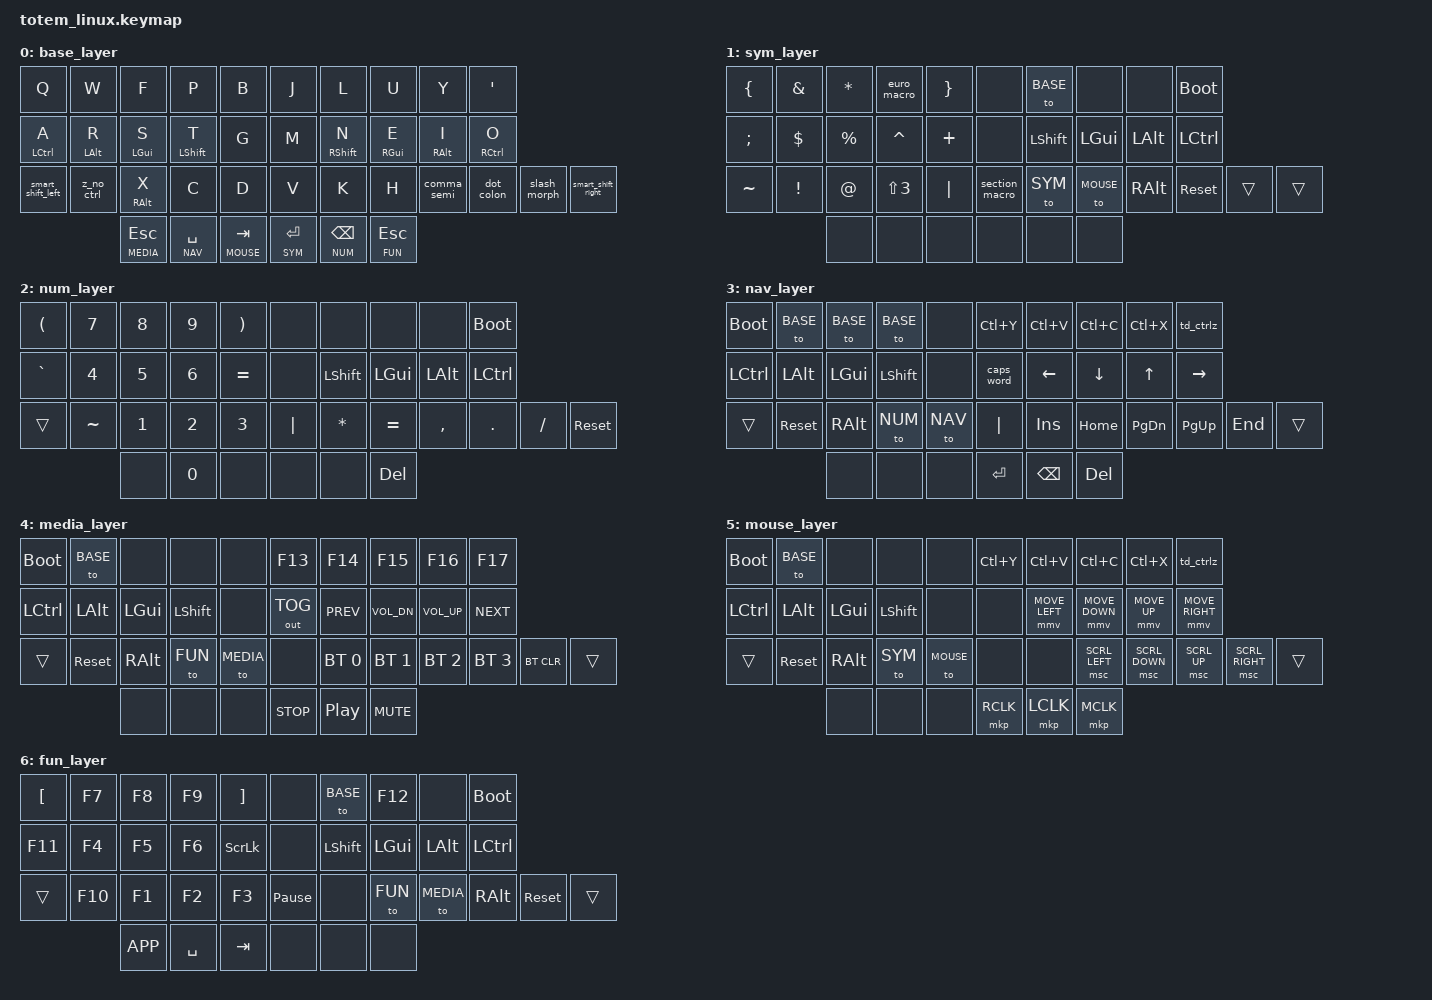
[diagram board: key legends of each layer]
/*
 * Copyright (c) 2025 Will Napier
 *
 * SPDX-License-Identifier: MIT
 *
 * LINUX-SPECIFIC TOTEM KEYMAP (Ctrl edit commands)
 * Ported from piantor_pro_bt.keymap (42-key) to Totem (38-key); the Linux twin of totem.keymap (macOS).
 * British Pound (£) on SYM+D, Hash (#) on Right-Alt+3
 * Euro (€) on SYM+P — euro_macro compose sequence (Menu, c, =) via ~/.XCompose
 * Section sign (§) on SYM+V — section_macro compose sequence (Menu, s, o) via ~/.XCompose
 */

#include <behaviors.dtsi>
#include <dt-bindings/zmk/keys.h>
#include <dt-bindings/zmk/bt.h>
#include <dt-bindings/zmk/outputs.h>
#include <dt-bindings/zmk/pointing.h>

// Set maximum mouse velocity
#define ZMK_POINTING_DEFAULT_MOVE_VAL 1440

// Layer definitions
#define BASE 0
#define SYM 1
#define NUM 2
#define NAV 3
#define MEDIA 4
#define MOUSE 5
#define FUN 6

// Miryoku timeless HRM settings
#define QUICK_TAP_MS 175

&mt {
    flavor = "balanced";
    tapping-term-ms = <280>;
    quick-tap-ms = <QUICK_TAP_MS>;
    require-prior-idle-ms = <200>;
    hold-trigger-on-release;
};

/ {
    macros {
        // British Pound Sterling via compose sequence (Menu, L, -)
        // Works with ~/.XCompose on Linux
        pound_macro: pound_macro {
            compatible = "zmk,behavior-macro";
            #binding-cells = <0>;
            wait-ms = <30>;
            tap-ms = <30>;
            bindings = <&kp K_APP>, <&kp L>, <&kp MINUS>;
        };

        // Euro (€) via compose sequence (Menu, c, =) — in the default X Compose file
        // (/usr/share/X11/locale/en_US.UTF-8/Compose: <Multi_key> <c> <equal>).
        euro_macro: euro_macro {
            compatible = "zmk,behavior-macro";
            #binding-cells = <0>;
            wait-ms = <30>;
            tap-ms = <30>;
            bindings = <&kp K_APP>, <&kp C>, <&kp EQUAL>;
        };

        // Section sign (§) via compose sequence (Menu, s, o) — in the default X
        // Compose file (/usr/share/X11/locale/en_US.UTF-8/Compose: <Multi_key> <s> <o>).
        section_macro: section_macro {
            compatible = "zmk,behavior-macro";
            #binding-cells = <0>;
            wait-ms = <30>;
            tap-ms = <30>;
            bindings = <&kp K_APP>, <&kp S>, <&kp O>;
        };
    };
};

/ {
    behaviors {
        // Layer-tap + quick-tap: tap-then-hold the SAME key repeats the tap
        // (e.g. backspace autorepeat past the HRM), while hold-from-idle still
        // enters the layer. Matches ZMK's default &lt (tap-preferred, 200ms) and
        // only adds QUICK_TAP_MS quick-tap. Used on the &lt_repeat NUM BSPC thumb.
        lt_repeat: layer_tap_repeat {
            compatible = "zmk,behavior-hold-tap";
            #binding-cells = <2>;
            flavor = "tap-preferred";
            tapping-term-ms = <200>;
            quick-tap-ms = <QUICK_TAP_MS>;
            bindings = <&mo>, <&kp>;
        };

        // macOS-SPECIFIC: Cmd+Z for undo (instead of Ctrl+Z)
        td_ctrlz: tap_dance {
            compatible = "zmk,behavior-tap-dance";
            #binding-cells = <0>;
            tapping-term-ms = <200>;
            bindings = <&none>, <&kp LC(Z)>;  // LG = Left GUI (Cmd on macOS)
        };

        // Make Left-Ctrl+Z a hard no-op at the keyboard.
        // Z tapped on its own = "z"; Z pressed while Left-Ctrl is held = nothing.
        // This reads the LIVE modifier state, so it catches a deliberately-held A
        // (the LCTRL home-row mod) just as well as any other source of Left-Ctrl —
        // killing the terminal-suspend (SIGTSTP) that Ctrl+Z would otherwise send.
        // Cmd+Z (LGUI) is untouched: only Left-Ctrl is in the trigger mask, so undo
        // on the NAV layer (td_ctrlz / LC(Z)) still works.
        z_no_ctrl: z_no_ctrl_morph {
            compatible = "zmk,behavior-mod-morph";
            #binding-cells = <0>;
            bindings = <&kp Z>, <&none>;
            mods = <(MOD_LCTL)>;
        };

        // Smart shift with parentheses on shift - urob-inspired simplified version
        smart_shift_left: smart_shift_left_morph {
            compatible = "zmk,behavior-mod-morph";
            #binding-cells = <0>;
            bindings = <&sk LSHFT>, <&kp LPAR>;  // Normal = sticky shift, Shift = (
            mods = <(MOD_LSFT|MOD_RSFT)>;
        };

        smart_shift_right: smart_shift_right_morph {
            compatible = "zmk,behavior-mod-morph";
            #binding-cells = <0>;
            bindings = <&sk LSHFT>, <&kp RPAR>;  // Normal = sticky shift, Shift = )
            mods = <(MOD_LSFT|MOD_RSFT)>;
        };

        // Forward slash / backslash on same key
        slash_morph: slash_behavior {
            compatible = "zmk,behavior-mod-morph";
            #binding-cells = <0>;
            bindings = <&kp FSLH>, <&kp BSLH>;
            mods = <(MOD_LSFT|MOD_RSFT)>;
        };

        // Question mark / exclamation on same key
        question_combo: question_combo_morph {
            compatible = "zmk,behavior-mod-morph";
            #binding-cells = <0>;
            bindings = <&kp QUESTION>, <&kp EXCLAMATION>;   // Normal = ? vs Shift = !
            mods = <(MOD_LSFT|MOD_RSFT)>;
        };

        // Urob-style punctuation morphs (2026-07-18): colon/semicolon live on
        // Shift+, / Shift+. — not on letter combos (avoids ul/lu digraph traps).
        // sticky Shift (outer pinkies) or hold-T/N then , or .  →  ; or :
        // <> stay on vertical combos Q+A / '+O (Urob puts them on nested
        // Ctrl+Shift of these morphs; we keep the same-finger vertical path).
        comma_semi: comma_semi_morph {
            compatible = "zmk,behavior-mod-morph";
            #binding-cells = <0>;
            bindings = <&kp COMMA>, <&kp SEMI>;   // ,  /  Shift → ;
            mods = <(MOD_LSFT|MOD_RSFT)>;
        };

        // Period: plain . / Shift → :  (RAlt-hold removed 2026-07-19).
        // RAlt remains on hold-X and hold-I (and layers). Option/AltGr symbol
        // discovery is fine; regular maths/programming → a dedicated layer later.
        dot_colon: dot_colon_morph {
            compatible = "zmk,behavior-mod-morph";
            #binding-cells = <0>;
            bindings = <&kp DOT>, <&kp COLON>;    // .  /  Shift → :
            mods = <(MOD_LSFT|MOD_RSFT)>;
        };

        // Plus / equal on same key
        plus_equal: plus_equal_morph {
            compatible = "zmk,behavior-mod-morph";
            #binding-cells = <0>;
            bindings = <&kp PLUS>, <&kp EQUAL>;   // Normal = + vs Shift = =
            mods = <(MOD_LSFT|MOD_RSFT)>;
        };

        // Browser navigation behaviors
        browser_back: browser_back_morph {
            compatible = "zmk,behavior-mod-morph";
            #binding-cells = <0>;
            bindings = <&kp LA(LEFT)>, <&kp LC(PG_UP)>;   // Linux: Alt+Left = back ; Shift = Ctrl+PgUp = prev tab
            mods = <(MOD_LSFT|MOD_RSFT)>;
        };

        browser_forward: browser_forward_morph {
            compatible = "zmk,behavior-mod-morph";
            #binding-cells = <0>;
            bindings = <&kp LA(RIGHT)>, <&kp LC(PG_DN)>;   // Linux: Alt+Right = forward ; Shift = Ctrl+PgDn = next tab
            mods = <(MOD_LSFT|MOD_RSFT)>;
        };

        // Symbol combo behaviors with shift variants
        bracket_left: bracket_left_morph {
            compatible = "zmk,behavior-mod-morph";
            #binding-cells = <0>;
            bindings = <&kp LBKT>, <&kp LBRC>;   // [ normal, { shifted
            mods = <(MOD_LSFT|MOD_RSFT)>;
        };

        bracket_right: bracket_right_morph {
            compatible = "zmk,behavior-mod-morph";
            #binding-cells = <0>;
            bindings = <&kp RBKT>, <&kp RBRC>;   // ] normal, } shifted
            mods = <(MOD_LSFT|MOD_RSFT)>;
        };

        quote: quote_morph {
            compatible = "zmk,behavior-mod-morph";
            #binding-cells = <0>;
            bindings = <&kp SQT>, <&kp DQT>;   // ' normal, " shifted
            mods = <(MOD_LSFT|MOD_RSFT)>;
        };

        // Positional hold-tap for shift - only triggers on opposite hand
        // Uses tap-preferred to bias toward tap during fast rolls
        // Left shift: triggers only on right-hand keys (Totem positions 5 6 7 8 9, 15 16 17 18 19, 26 27 28 29 30 31, 35 36 37)
        hml_shift: home_row_left_shift {
            compatible = "zmk,behavior-hold-tap";
            #binding-cells = <2>;
            flavor = "tap-preferred";
            tapping-term-ms = <280>;
            quick-tap-ms = <QUICK_TAP_MS>;
            require-prior-idle-ms = <200>;
            bindings = <&kp>, <&kp>;
            hold-trigger-key-positions = <5 6 7 8 9 15 16 17 18 19 26 27 28 29 30 31 35 36 37>;
            hold-trigger-on-release;
        };

        // Positional hold-tap for the left-hand letter mods (Ctrl/Alt/GUI on A/R/S).
        // Same bilateral guard as hml_shift: the hold only triggers in combination with
        // a RIGHT-hand key, so same-hand rolls (e.g. a->z) can never produce Cmd/Ctrl+Z.
        // Deliberate undo stays on the NAV layer, unaffected.
        hml: home_row_left_mod {
            compatible = "zmk,behavior-hold-tap";
            #binding-cells = <2>;
            flavor = "tap-preferred";
            tapping-term-ms = <280>;
            quick-tap-ms = <QUICK_TAP_MS>;
            require-prior-idle-ms = <200>;
            bindings = <&kp>, <&kp>;
            hold-trigger-key-positions = <5 6 7 8 9 15 16 17 18 19 26 27 28 29 30 31 35 36 37>;
            hold-trigger-on-release;
        };

        // Right shift: triggers only on left-hand keys (Totem positions 0 1 2 3 4, 10 11 12 13 14, 20 21 22 23 24 25, 32 33 34)
        hmr_shift: home_row_right_shift {
            compatible = "zmk,behavior-hold-tap";
            #binding-cells = <2>;
            flavor = "tap-preferred";
            tapping-term-ms = <280>;
            quick-tap-ms = <QUICK_TAP_MS>;
            require-prior-idle-ms = <200>;
            bindings = <&kp>, <&kp>;
            hold-trigger-key-positions = <0 1 2 3 4 10 11 12 13 14 20 21 22 23 24 25 32 33 34>;
            hold-trigger-on-release;
        };

        // Right Cmd: tap-preferred with higher idle requirement to prevent accidental Cmd+Backspace
        // when typing words ending in E (like "the") followed by quick corrections
        hmr_cmd: home_row_right_cmd {
            compatible = "zmk,behavior-hold-tap";
            #binding-cells = <2>;
            flavor = "tap-preferred";
            tapping-term-ms = <280>;
            quick-tap-ms = <QUICK_TAP_MS>;
            require-prior-idle-ms = <200>;
            bindings = <&kp>, <&kp>;
            hold-trigger-on-release;
        };
    };


    combos {
        compatible = "zmk,combos";

        // Letter combos for :/; abandoned 2026-07-18 (L+U digraph trap; J+L /
        // P+B drafted then dropped as awkward). Colon/semi = Shift+. / Shift+,
        // via comma_semi / dot_colon morphs (Urob path). <> remain Q+A / '+O.

        // N + H = - (minus/hyphen) — vertical home+bottom (Urob-style), 2026-07-19.
        // Replaces horizontal U+Y which still false-fired on uy/yu rolls (buy/guy).
        // Same-finger flatten: no English digraph path. No prior-idle so mid-stream
        // a-b / foo-bar still works (matches bracket verticals). U+Y freed on BASE;
        // NAV still uses U+Y for browser-forward.
        combo_minus {
            timeout-ms = <40>;
            key-positions = <16 27>;  // N + H
            bindings = <&kp MINUS>;
            layers = <BASE>;
        };

        // , + . = ? (question mark) / ! (exclamation when shifted)
        combo_question {
            timeout-ms = <50>;
            key-positions = <28 29>;
            bindings = <&question_combo>;
            layers = <BASE>;
        };

        // Safety combo: prevent accidental Cmd+Z when brushing A while pressing Z
        combo_az_null {
            timeout-ms = <50>;
            require-prior-idle-ms = <50>;
            key-positions = <10 21>;  // A + Z
            bindings = <&none>;
            layers = <BASE>;
        };

        // --- Bracket combos: vertical, same-finger, mirrored (L=open / R=close).
        //     Strongest finger = most common bracket: index=(), middle=[], ring={},
        //     pinky=<> (weaker; Totem splay + small wrist/ring assist is fine).
        //     No require-prior-idle: a same-finger flatten can't occur within the
        //     40ms window during normal sequential typing, and an idle guard would
        //     block brackets typed right after a letter (foo(, [text](url)).
        //     Overlaps shift keys S/T/N/E by design — the tight window keeps the
        //     deliberate flatten distinct from a two-finger shift press.
        //     Pinky pairs overlap HRM Ctrl on A/O: hold-mod then letter is fine;
        //     simultaneous mash within 40ms can emit <> instead of Ctrl+letter.
        combo_lparen {   // ( = P + T  (left index)
            timeout-ms = <40>;
            key-positions = <3 13>;
            bindings = <&kp LPAR>;
            layers = <BASE>;
        };
        combo_rparen {   // ) = L + N  (right index)
            timeout-ms = <40>;
            key-positions = <6 16>;
            bindings = <&kp RPAR>;
            layers = <BASE>;
        };
        combo_lbracket {   // [ = F + S  (left middle)
            timeout-ms = <40>;
            key-positions = <2 12>;
            bindings = <&kp LBKT>;
            layers = <BASE>;
        };
        combo_rbracket {   // ] = U + E  (right middle)
            timeout-ms = <40>;
            key-positions = <7 17>;
            bindings = <&kp RBKT>;
            layers = <BASE>;
        };
        combo_lbrace {   // { = W + R  (left ring)
            timeout-ms = <40>;
            key-positions = <1 11>;
            bindings = <&kp LBRC>;
            layers = <BASE>;
        };
        combo_rbrace {   // } = Y + I  (right ring)
            timeout-ms = <40>;
            key-positions = <8 18>;
            bindings = <&kp RBRC>;
            layers = <BASE>;
        };
        combo_langle {   // < = Q + A  (left pinky column)
            timeout-ms = <40>;
            key-positions = <0 10>;
            bindings = <&kp LESS_THAN>;
            layers = <BASE>;
        };
        combo_rangle {   // > = ' + O  (right pinky column)
            timeout-ms = <40>;
            key-positions = <9 19>;
            bindings = <&kp GREATER_THAN>;
            layers = <BASE>;
        };

        // --- Browser-nav combos on the NAV layer (base freed; hyphen reclaims U+Y).
        //     Both on the RIGHT hand around the U pivot so reversing tab direction is a
        //     finger-shift, not a hand-swap: L+U = back/left, U+Y = forward/right.
        //     tap = history, shift = tab (NAV-layer T is LSHFT — hold it for tabs).
        //     Via browser_back/forward morphs: Mac Cmd+[/]·Cmd+{/} ; Linux Alt+←/→·Ctrl+PgUp/Dn.
        //     NB overlaps the NAV clipboard singles (L=paste, U=copy, Y=cut) — watch a
        //     fast copy→paste roll; the tight timeout guards it.
        combo_browser_back {   // NAV: L + U = back / shift = previous tab
            timeout-ms = <45>;
            key-positions = <6 7>;
            bindings = <&browser_back>;
            layers = <NAV>;
        };
        combo_browser_fwd {   // NAV: U + Y = forward / shift = next tab
            timeout-ms = <45>;
            key-positions = <7 8>;
            bindings = <&browser_forward>;
            layers = <NAV>;
        };

        combo_at {
            timeout-ms = <50>;
            require-prior-idle-ms = <150>;
            key-positions = <22 23>;  // X + C
            bindings = <&kp AT>;
            layers = <BASE>;
        };

        combo_pipe {
            timeout-ms = <50>;
            require-prior-idle-ms = <150>;
            key-positions = <23 24>;  // C + D
            bindings = <&kp PIPE>;
            layers = <BASE>;
        };

        combo_plus {
            timeout-ms = <50>;
            require-prior-idle-ms = <150>;
            key-positions = <27 28>;  // H + ,
            bindings = <&plus_equal>;
            layers = <BASE>;
        };

        // £ moved off . + / to Y + ' (2026-07-09) to free ./ for ! — £ is far
        // rarer than !, so it takes the new spare Y+' combo. Same 50/150 guard:
        // 50ms window means a sequential y->' roll ("boy's","day's") types y'
        // normally; only a deliberate simultaneous mash after a pause fires £.
        combo_pound {
            timeout-ms = <50>;
            require-prior-idle-ms = <150>;
            key-positions = <8 9>;  // Y + '  (was . + /)
            bindings = <&pound_macro>;  // £ via compose sequence (Menu, L, -) on Linux
            layers = <BASE>;
        };

        // . + / = ! (exclamation) — freed by moving £ to Y+' (2026-07-09).
        // Gives the common ! a single UNSHIFTED combo instead of shift+(,+.).
        // Inherits the exact 50/150 guard £ ran here without misfiring, so
        // terminal "./" / "../" paths are unaffected (proven on this position).
        combo_exclaim {
            timeout-ms = <50>;
            require-prior-idle-ms = <150>;
            key-positions = <29 30>;  // . + /
            bindings = <&kp EXCL>;
            layers = <BASE>;
        };

        // S+T / N+E one-shot sticky Shift removed 2026-07-18.
        // Digraphs st/ne after pauses (new, next, start…) satisfied prior-idle
        // and fired the combo (e.g. "new" → "W"). Capitals: hold-T/N HRM,
        // outer smart sticky Shift, or NAV caps_word.

    };
};

// Configure mouse movement acceleration (Urob-style)
&mmv {
    acceleration-exponent = <1>;
    time-to-max-speed-ms = <60>;
    delay-ms = <0>;
};

// Configure mouse scroll - remove rate limiting for responsive repeated scrolls
&msc {
    acceleration-exponent = <0>;  // Linear, no acceleration
    time-to-max-speed-ms = <0>;   // Immediate max speed
    delay-ms = <0>;               // No delay between scrolls
};

/ {
    keymap {
        compatible = "zmk,keymap";

        base_layer {
            bindings = <
                &kp Q           &kp W           &kp F           &kp P           &kp B           &kp J           &kp L           &kp U           &kp Y           &kp SQT
                &hml LCTRL A    &hml LALT R     &hml LGUI S     &hml_shift LSHFT T     &kp G    &kp M           &hmr_shift RSHFT N     &hmr_cmd RGUI E  &mt RALT I      &mt RCTRL O
                &smart_shift_left &z_no_ctrl    &mt RALT X      &kp C           &kp D           &kp V           &kp K           &kp H           &comma_semi     &dot_colon      &slash_morph    &smart_shift_right
                                                &lt MEDIA ESC   &lt NAV SPACE   &lt MOUSE TAB   &lt SYM RET     &lt_repeat NUM BSPC    &lt FUN ESC
            >;
        };

        sym_layer {
            bindings = <
                &kp LBRC        &kp AMPS        &kp ASTRK       &euro_macro     &kp RBRC        &none           &to BASE        &none           &none           &bootloader
                &kp SEMI        &kp DLLR        &kp PRCNT       &kp CARET       &kp PLUS        &none           &kp LSHFT       &kp LGUI        &kp LALT        &kp LCTRL
                &kp TILDE       &kp EXCL        &kp AT          &kp LS(N3)      &kp PIPE        &section_macro  &to SYM         &to MOUSE       &kp RALT        &sys_reset      &trans          &trans
                                                &none           &none           &none           &none           &none           &none
            >;
        };

        num_layer {
            bindings = <
                &kp LPAR        &kp N7          &kp N8          &kp N9          &kp RPAR        &none           &none           &none            &none          &bootloader
                &kp GRAVE       &kp N4          &kp N5          &kp N6          &kp EQUAL       &none           &kp LSHFT       &kp LGUI        &kp LALT        &kp LCTRL
                &trans          &kp TILDE       &kp N1          &kp N2          &kp N3          &kp PIPE        &kp STAR        &kp EQUAL        &kp COMMA       &kp DOT         &kp FSLH        &sys_reset
                                                &none           &kp N0          &none           &none           &none           &kp DEL
            >;
        };

        nav_layer {
            bindings = <
                // macOS-SPECIFIC: Using LG (Cmd) instead of LC (Ctrl)
                &bootloader     &to BASE        &to BASE        &to BASE        &none           &kp LC(Y)       &kp LC(V)       &kp LC(C)       &kp LC(X)       &td_ctrlz
                &kp LCTRL       &kp LALT        &kp LGUI        &kp LSHFT       &none           &caps_word      &kp LEFT        &kp DOWN        &kp UP          &kp RIGHT
                &trans          &sys_reset      &kp RALT        &to NUM         &to NAV         &kp PIPE        &kp INS         &kp HOME        &kp PG_DN       &kp PG_UP       &kp END         &trans
                                                &none           &none           &none           &kp RET         &kp BSPC        &kp DEL
             >;
        };

        media_layer {
            // Screenshot keys on top row right (hold MEDIA left thumb + key):
            // J=F13 region→file, L=F14 full→file, U=F15 window→file, Y=F16 region→clip, '=F17 full→clip
            bindings = <
                &bootloader     &to BASE        &none           &none           &none           &kp F13         &kp F14         &kp F15         &kp F16         &kp F17
                &kp LCTRL       &kp LALT        &kp LGUI        &kp LSHFT       &none           &out OUT_TOG    &kp C_PREV      &kp C_VOL_DN    &kp C_VOL_UP    &kp C_NEXT
                &trans          &sys_reset      &kp RALT        &to FUN         &to MEDIA       &none           &bt BT_SEL 0    &bt BT_SEL 1    &bt BT_SEL 2    &bt BT_SEL 3    &bt BT_CLR      &trans
                                                &none           &none           &none           &kp C_STOP      &kp C_PP        &kp C_MUTE
            >;
        };

        mouse_layer {
            bindings = <
                // macOS-SPECIFIC: Using LG (Cmd) instead of LC (Ctrl)
                &bootloader     &to BASE        &none           &none           &none           &kp LC(Y)       &kp LC(V)       &kp LC(C)       &kp LC(X)       &td_ctrlz
                &kp LCTRL       &kp LALT        &kp LGUI        &kp LSHFT       &none           &none           &mmv MOVE_LEFT  &mmv MOVE_DOWN  &mmv MOVE_UP    &mmv MOVE_RIGHT
                &trans          &sys_reset      &kp RALT        &to SYM         &to MOUSE       &none           &none           &msc SCRL_LEFT  &msc SCRL_DOWN  &msc SCRL_UP    &msc SCRL_RIGHT &trans
                                                &none           &none           &none           &mkp RCLK       &mkp LCLK       &mkp MCLK
            >;
        };

        fun_layer {
            bindings = <
                &kp LBKT        &kp F7          &kp F8          &kp F9          &kp RBKT        &none           &to BASE        &kp F12         &none           &bootloader
                &kp F11         &kp F4          &kp F5          &kp F6          &kp SLCK        &none           &kp LSHFT       &kp LGUI        &kp LALT        &kp LCTRL
                &trans          &kp F10         &kp F1          &kp F2          &kp F3          &kp PAUSE_BREAK &none           &to FUN         &to MEDIA       &kp RALT        &sys_reset      &trans
                                                &kp K_APP       &kp SPACE       &kp TAB         &none           &none           &none
            >;
        };

    };
};
